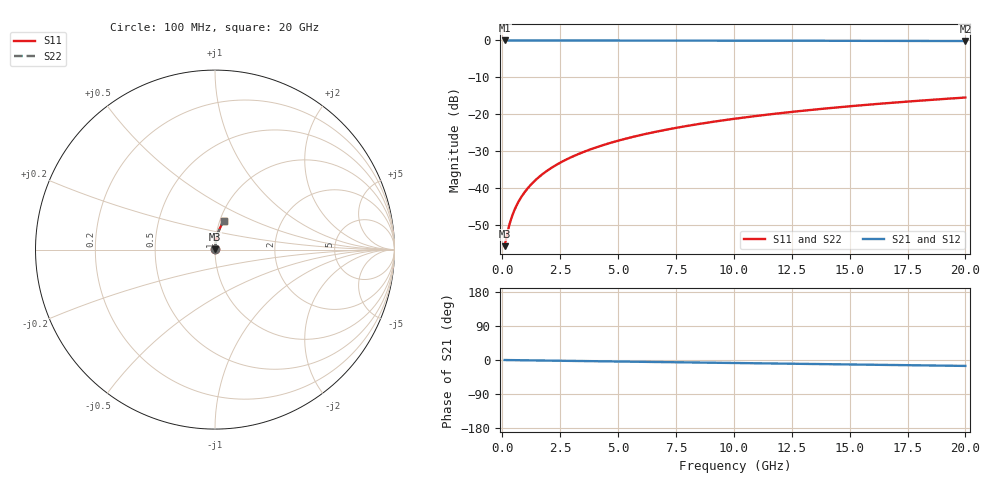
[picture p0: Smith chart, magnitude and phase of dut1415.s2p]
! Touchstone file exported from HFSS 2026.1.0
!  File:  C:/ffzhzh/LocalFiles/Ansys_Project_Files/temp_train_BSMRDL_1415_1783180130_55132.aedt
!  Generated:  11:50:11 PM Jul  4, 2026
!  Design:  BSMRDL
!  Project:  temp_train_BSMRDL_1415_1783180130_55132
! Variables:
!  h_bsmrdl = 2.68um
!  h_ox = 20um
!  h_rdl = 5um
!  h_sub = 80um
!  h_tmrdl = 5um
!  h_tsv = 80um
!  h_via = 3um
!  l_bsmrdl = 176.63um
!  l_sub = 576.63um
!  l_tmrdl = 200um
!  m_sub = 200um
!  pitch = 50.16um
!  r_tsv = 6um
!  s_tmrdl = 10um
!  w_bsmrdl = 22.6um
!  w_sub = 500um
!  w_tmrdl = 12um
!  x_tsv_center1 = 206um
!  x_tsv_center2 = 405.23um
!  x_tsv_center3 = 617.23um
!  x_tsv_center4 = 816.46um
!  x_tsv_center5 = 1028.46um
!  x_tsv_center6 = 1227.69um
# GHz S MA R 50.000000
! Terminal data exported
! Port[1] = BSM_RDL1_1_T1
! Port[2] = BSM_RDL1_1_T2
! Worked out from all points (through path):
!   200 points, 100 MHz to 20 GHz, reference 50 ohm
!   highest |S21| = -0.01 dB at 100 MHz (marker M1); lowest = -0.2 dB at 20 GHz (marker M2)
!   group delay of S21, straight-line fit = 2.17 ps
!   lowest |S11| = -55.6 dB at 100 MHz (marker M3), VSWR 1.00, Z = 50.1 + j0.0958 ohm
!   |S11| at or under -10 dB: start of sweep to end of sweep
!   |S22| runs from -55.6 to -15.4 dB; largest |S21 - S12| = 3.2e-15
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0.1  0.00165 35.4  0.9987 -0.1  0.9987 -0.1  0.00165 35.4
! Gamma 0 0 0 0
! Port Impedance 50 0 50 0
0.2  0.00235 53.9  0.9986 -0.2  0.9986 -0.2  0.00235 53.9
0.3  0.003168 63.0  0.9986 -0.2  0.9986 -0.2  0.003168 63.0
0.4  0.004017 68.1  0.9985 -0.3  0.9985 -0.3  0.004017 68.1
0.5  0.004873 71.4  0.9985 -0.4  0.9985 -0.4  0.004873 71.4
0.6  0.005729 73.7  0.9984 -0.5  0.9984 -0.5  0.005729 73.7
0.8  0.007444 76.7  0.9984 -0.6  0.9984 -0.6  0.007444 76.7
1.1  0.01003 79.4  0.9983 -0.9  0.9983 -0.9  0.01003 79.4
1.3  0.01175 80.6  0.9982 -1.0  0.9982 -1.0  0.01175 80.6
1.6  0.01436 81.7  0.9982 -1.3  0.9982 -1.3  0.01436 81.7
2.1  0.01871 82.8  0.998 -1.7  0.998 -1.7  0.01871 82.8
2.7  0.02395 83.4  0.9979 -2.2  0.9979 -2.2  0.02395 83.4
3.5  0.03094 83.6  0.9976 -2.8  0.9976 -2.8  0.03094 83.6
4.2  0.03705 83.5  0.9973 -3.4  0.9973 -3.4  0.03705 83.5
5  0.04402 83.3  0.9969 -4.0  0.9969 -4.0  0.04402 83.3
5.9  0.05183 82.8  0.9964 -4.7  0.9964 -4.7  0.05183 82.8
6.8  0.05961 82.3  0.9958 -5.4  0.9958 -5.4  0.05961 82.3
8.3  0.07249 81.3  0.9947 -6.6  0.9947 -6.6  0.07249 81.3
10.1  0.0878 80.1  0.9932 -8.0  0.9932 -8.0  0.0878 80.1
13.4  0.1154 77.7  0.9898 -10.6  0.9898 -10.6  0.1154 77.7
16.7  0.1425 75.3  0.9858 -13.1  0.9858 -13.1  0.1425 75.3
20  0.1689 72.9  0.9812 -15.6  0.9812 -15.6  0.1689 72.9
